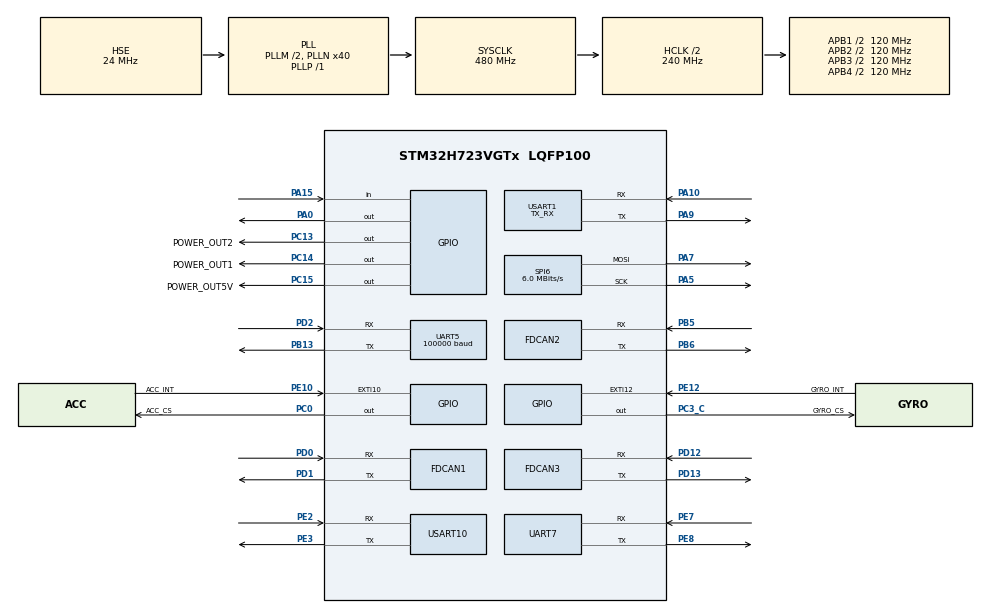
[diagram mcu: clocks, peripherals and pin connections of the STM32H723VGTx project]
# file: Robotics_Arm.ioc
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CORTEX_M7.CPU_DCache=Disabled
CORTEX_M7.CPU_ICache=Disabled
CORTEX_M7.default_mode_Activation=0
Dma.Request0=UART7_RX
Dma.Request1=UART7_TX
Dma.Request2=USART10_RX
Dma.Request3=USART10_TX
Dma.Request4=USART1_TX
Dma.Request5=UART5_RX
Dma.Request6=USART1_RX
Dma.UART5_RX.5.Direction=DMA_PERIPH_TO_MEMORY
Dma.UART5_RX.5.EventEnable=DISABLE
Dma.UART5_RX.5.FIFOMode=DMA_FIFOMODE_DISABLE
Dma.UART5_RX.5.Instance=DMA1_Stream0
Dma.UART5_RX.5.MemDataAlignment=DMA_MDATAALIGN_BYTE
Dma.UART5_RX.5.MemInc=DMA_MINC_ENABLE
Dma.UART5_RX.5.Mode=DMA_NORMAL
Dma.UART5_RX.5.PeriphDataAlignment=DMA_PDATAALIGN_BYTE
Dma.UART5_RX.5.PeriphInc=DMA_PINC_DISABLE
Dma.UART5_RX.5.Polarity=HAL_DMAMUX_REQ_GEN_RISING
Dma.UART5_RX.5.Priority=DMA_PRIORITY_VERY_HIGH
Dma.UART5_RX.5.RequestNumber=1
Dma.UART5_RX.5.SignalID=NONE
Dma.UART5_RX.5.SyncEnable=DISABLE
Dma.UART5_RX.5.SyncPolarity=HAL_DMAMUX_SYNC_NO_EVENT
Dma.UART5_RX.5.SyncRequestNumber=1
Dma.UART5_RX.5.SyncSignalID=NONE
Dma.UART7_RX.0.Direction=DMA_PERIPH_TO_MEMORY
Dma.UART7_RX.0.EventEnable=DISABLE
Dma.UART7_RX.0.FIFOMode=DMA_FIFOMODE_DISABLE
Dma.UART7_RX.0.Instance=DMA1_Stream2
Dma.UART7_RX.0.MemDataAlignment=DMA_MDATAALIGN_BYTE
Dma.UART7_RX.0.MemInc=DMA_MINC_ENABLE
Dma.UART7_RX.0.Mode=DMA_NORMAL
Dma.UART7_RX.0.PeriphDataAlignment=DMA_PDATAALIGN_BYTE
Dma.UART7_RX.0.PeriphInc=DMA_PINC_DISABLE
Dma.UART7_RX.0.Polarity=HAL_DMAMUX_REQ_GEN_RISING
Dma.UART7_RX.0.Priority=DMA_PRIORITY_LOW
Dma.UART7_RX.0.RequestNumber=1
Dma.UART7_RX.0.SignalID=NONE
Dma.UART7_RX.0.SyncEnable=DISABLE
Dma.UART7_RX.0.SyncPolarity=HAL_DMAMUX_SYNC_NO_EVENT
Dma.UART7_RX.0.SyncRequestNumber=1
Dma.UART7_RX.0.SyncSignalID=NONE
Dma.UART7_TX.1.Direction=DMA_MEMORY_TO_PERIPH
Dma.UART7_TX.1.EventEnable=DISABLE
Dma.UART7_TX.1.FIFOMode=DMA_FIFOMODE_DISABLE
Dma.UART7_TX.1.Instance=DMA1_Stream3
Dma.UART7_TX.1.MemDataAlignment=DMA_MDATAALIGN_BYTE
Dma.UART7_TX.1.MemInc=DMA_MINC_ENABLE
Dma.UART7_TX.1.Mode=DMA_NORMAL
Dma.UART7_TX.1.PeriphDataAlignment=DMA_PDATAALIGN_BYTE
Dma.UART7_TX.1.PeriphInc=DMA_PINC_DISABLE
Dma.UART7_TX.1.Polarity=HAL_DMAMUX_REQ_GEN_RISING
Dma.UART7_TX.1.Priority=DMA_PRIORITY_LOW
Dma.UART7_TX.1.RequestNumber=1
Dma.UART7_TX.1.SignalID=NONE
Dma.UART7_TX.1.SyncEnable=DISABLE
Dma.UART7_TX.1.SyncPolarity=HAL_DMAMUX_SYNC_NO_EVENT
Dma.UART7_TX.1.SyncRequestNumber=1
Dma.UART7_TX.1.SyncSignalID=NONE
Dma.USART10_RX.2.Direction=DMA_PERIPH_TO_MEMORY
Dma.USART10_RX.2.EventEnable=DISABLE
Dma.USART10_RX.2.FIFOMode=DMA_FIFOMODE_DISABLE
Dma.USART10_RX.2.Instance=DMA1_Stream4
Dma.USART10_RX.2.MemDataAlignment=DMA_MDATAALIGN_BYTE
Dma.USART10_RX.2.MemInc=DMA_MINC_ENABLE
Dma.USART10_RX.2.Mode=DMA_NORMAL
Dma.USART10_RX.2.PeriphDataAlignment=DMA_PDATAALIGN_BYTE
Dma.USART10_RX.2.PeriphInc=DMA_PINC_DISABLE
Dma.USART10_RX.2.Polarity=HAL_DMAMUX_REQ_GEN_RISING
Dma.USART10_RX.2.Priority=DMA_PRIORITY_LOW
Dma.USART10_RX.2.RequestNumber=1
Dma.USART10_RX.2.SignalID=NONE
Dma.USART10_RX.2.SyncEnable=DISABLE
Dma.USART10_RX.2.SyncPolarity=HAL_DMAMUX_SYNC_NO_EVENT
Dma.USART10_RX.2.SyncRequestNumber=1
Dma.USART10_RX.2.SyncSignalID=NONE
Dma.USART10_TX.3.Direction=DMA_MEMORY_TO_PERIPH
Dma.USART10_TX.3.EventEnable=DISABLE
Dma.USART10_TX.3.FIFOMode=DMA_FIFOMODE_DISABLE
Dma.USART10_TX.3.Instance=DMA1_Stream5
Dma.USART10_TX.3.MemDataAlignment=DMA_MDATAALIGN_BYTE
Dma.USART10_TX.3.MemInc=DMA_MINC_ENABLE
Dma.USART10_TX.3.Mode=DMA_NORMAL
Dma.USART10_TX.3.PeriphDataAlignment=DMA_PDATAALIGN_BYTE
Dma.USART10_TX.3.PeriphInc=DMA_PINC_DISABLE
Dma.USART10_TX.3.Polarity=HAL_DMAMUX_REQ_GEN_RISING
Dma.USART10_TX.3.Priority=DMA_PRIORITY_LOW
Dma.USART10_TX.3.RequestNumber=1
Dma.USART10_TX.3.SignalID=NONE
Dma.USART10_TX.3.SyncEnable=DISABLE
Dma.USART10_TX.3.SyncPolarity=HAL_DMAMUX_SYNC_NO_EVENT
Dma.USART10_TX.3.SyncRequestNumber=1
Dma.USART10_TX.3.SyncSignalID=NONE
Dma.USART1_RX.6.Direction=DMA_PERIPH_TO_MEMORY
Dma.USART1_RX.6.EventEnable=DISABLE
Dma.USART1_RX.6.FIFOMode=DMA_FIFOMODE_DISABLE
Dma.USART1_RX.6.Instance=DMA1_Stream1
Dma.USART1_RX.6.MemDataAlignment=DMA_MDATAALIGN_BYTE
Dma.USART1_RX.6.MemInc=DMA_MINC_ENABLE
Dma.USART1_RX.6.Mode=DMA_NORMAL
Dma.USART1_RX.6.PeriphDataAlignment=DMA_PDATAALIGN_BYTE
Dma.USART1_RX.6.PeriphInc=DMA_PINC_DISABLE
Dma.USART1_RX.6.Polarity=HAL_DMAMUX_REQ_GEN_RISING
Dma.USART1_RX.6.Priority=DMA_PRIORITY_LOW
Dma.USART1_RX.6.RequestNumber=1
Dma.USART1_RX.6.SignalID=NONE
Dma.USART1_RX.6.SyncEnable=DISABLE
Dma.USART1_RX.6.SyncPolarity=HAL_DMAMUX_SYNC_NO_EVENT
Dma.USART1_RX.6.SyncRequestNumber=1
Dma.USART1_RX.6.SyncSignalID=NONE
Dma.USART1_TX.4.Direction=DMA_MEMORY_TO_PERIPH
Dma.USART1_TX.4.EventEnable=DISABLE
Dma.USART1_TX.4.FIFOMode=DMA_FIFOMODE_DISABLE
Dma.USART1_TX.4.Instance=DMA1_Stream6
Dma.USART1_TX.4.MemDataAlignment=DMA_MDATAALIGN_BYTE
Dma.USART1_TX.4.MemInc=DMA_MINC_ENABLE
Dma.USART1_TX.4.Mode=DMA_NORMAL
Dma.USART1_TX.4.PeriphDataAlignment=DMA_PDATAALIGN_BYTE
Dma.USART1_TX.4.PeriphInc=DMA_PINC_DISABLE
Dma.USART1_TX.4.Polarity=HAL_DMAMUX_REQ_GEN_RISING
Dma.USART1_TX.4.Priority=DMA_PRIORITY_HIGH
Dma.USART1_TX.4.RequestNumber=1
Dma.USART1_TX.4.SignalID=NONE
Dma.USART1_TX.4.SyncEnable=DISABLE
Dma.USART1_TX.4.SyncPolarity=HAL_DMAMUX_SYNC_NO_EVENT
Dma.USART1_TX.4.SyncRequestNumber=1
Dma.USART1_TX.4.SyncSignalID=NONE
FDCAN1.CalculateBaudRateNominal=1000000
FDCAN1.CalculateTimeBitNominal=1000
FDCAN1.CalculateTimeQuantumNominal=200.0
FDCAN1.NominalPrescaler=24
FDCAN1.NominalTimeSeg1=2
FDCAN1.NominalTimeSeg2=2
FDCAN1.RxFifo0ElmtsNbr=32
FDCAN1.StdFiltersNbr=1
FDCAN1.TxFifoQueueElmtsNbr=32
FDCAN2.CalculateBaudRateNominal=1000000
FDCAN2.CalculateTimeBitNominal=1000
FDCAN2.CalculateTimeQuantumNominal=200.0
FDCAN2.MessageRAMOffset=0x406
FDCAN2.NominalPrescaler=24
FDCAN2.RxFifo0ElmtsNbr=32
FDCAN2.StdFiltersNbr=1
FDCAN2.TxFifoQueueElmtsNbr=32
FDCAN3.CalculateBaudRateNominal=1000000
FDCAN3.CalculateTimeBitNominal=1000
FDCAN3.CalculateTimeQuantumNominal=200.0
FDCAN3.MessageRAMOffset=0x812
FDCAN3.NominalPrescaler=24
FDCAN3.RxFifo0ElmtsNbr=32
FDCAN3.StdFiltersNbr=1
FDCAN3.TxFifoQueueElmtsNbr=32
FREERTOS.INCLUDE_eTaskGetState=1
FREERTOS.INCLUDE_uxTaskGetStackHighWaterMark=1
FREERTOS.INCLUDE_vTaskDelayUntil=1
FREERTOS.INCLUDE_xQueueGetMutexHolder=1
FREERTOS.INCLUDE_xTaskGetCurrentTaskHandle=1
FREERTOS.INCLUDE_xTimerPendFunctionCall=1
FREERTOS.MEMORY_ALLOCATION=2
FREERTOS.Tasks01=StartDebugTask,-2,128,StartDebug,Default,NULL,Static,defaultTaskBuffer,defaultTaskControlBlock;MotorOutputTask,2,512,MotorOutput,Default,NULL,Static,myTask04Buffer,myTask04ControlBlock;ArmTask,3,256,Arm,Default,NULL,Static,myTask05Buffer,myTask05ControlBlock;RCTask,-1,1024,RC,Default,NULL,Static,myTask06Buffer,myTask06ControlBlock
FREERTOS.configENABLE_FPU=1
FREERTOS.configTOTAL_HEAP_SIZE=20000
FREERTOS.configUSE_COUNTING_SEMAPHORES=1
FREERTOS.configUSE_RECURSIVE_MUTEXES=1
FREERTOS.configUSE_TIMERS=1
FREERTOS.configUSE_TRACE_FACILITY=1
Mcu.Family=STM32H7
Mcu.Name=STM32H723VGTx
Mcu.Package=LQFP100
NVIC.DMA1_Stream0_IRQn=true\:5\:0\:false\:false\:true\:true\:false\:true\:true
NVIC.DMA1_Stream1_IRQn=true\:5\:0\:false\:false\:true\:true\:false\:true\:true
NVIC.DMA1_Stream2_IRQn=true\:5\:0\:false\:false\:true\:true\:false\:true\:true
NVIC.DMA1_Stream3_IRQn=true\:5\:0\:false\:false\:true\:true\:false\:true\:true
NVIC.DMA1_Stream4_IRQn=true\:5\:0\:false\:false\:true\:true\:false\:true\:true
NVIC.DMA1_Stream5_IRQn=true\:5\:0\:false\:false\:true\:true\:false\:true\:true
NVIC.DMA1_Stream6_IRQn=true\:5\:0\:false\:false\:true\:true\:false\:true\:true
NVIC.EXTI15_10_IRQn=true\:6\:0\:true\:false\:true\:true\:true\:true\:true
NVIC.FDCAN1_IT0_IRQn=true\:5\:0\:false\:false\:true\:true\:true\:true\:true
NVIC.FDCAN1_IT1_IRQn=true\:5\:0\:false\:false\:true\:true\:true\:true\:true
NVIC.FDCAN2_IT0_IRQn=true\:5\:0\:false\:false\:true\:true\:true\:true\:true
NVIC.FDCAN2_IT1_IRQn=true\:5\:0\:false\:false\:true\:true\:true\:true\:true
NVIC.FDCAN3_IT0_IRQn=true\:5\:0\:false\:false\:true\:true\:true\:true\:true
NVIC.FDCAN3_IT1_IRQn=true\:5\:0\:false\:false\:true\:true\:true\:true\:true
NVIC.PriorityGroup=NVIC_PRIORITYGROUP_4
NVIC.TIM1_UP_IRQn=true\:15\:0\:false\:false\:true\:false\:false\:true\:true
NVIC.TIM2_IRQn=true\:5\:0\:false\:false\:true\:true\:true\:true\:true
NVIC.TimeBase=TIM1_UP_IRQn
NVIC.TimeBaseIP=TIM1
NVIC.UART5_IRQn=true\:5\:0\:false\:false\:true\:true\:true\:true\:true
NVIC.UART7_IRQn=true\:5\:0\:false\:false\:true\:true\:true\:true\:true
NVIC.USART10_IRQn=true\:5\:0\:false\:false\:true\:true\:true\:true\:true
NVIC.USART1_IRQn=true\:5\:0\:false\:false\:true\:true\:true\:true\:true
PA0.GPIO_Speed=GPIO_SPEED_FREQ_VERY_HIGH
PA0.Signal=GPIO_Output
PA10.GPIO_Speed=GPIO_SPEED_FREQ_VERY_HIGH
PA10.Mode=Asynchronous
PA10.Signal=USART1_RX
PA13(JTMS/SWDIO).Mode=Serial_Wire
PA13(JTMS/SWDIO).Signal=DEBUG_JTMS-SWDIO
PA14(JTCK/SWCLK).Mode=Serial_Wire
PA14(JTCK/SWCLK).Signal=DEBUG_JTCK-SWCLK
PA15(JTDI).Signal=GPIO_Input
PA5.Mode=TX_Only_Simplex_Unidirect_Master
PA5.Signal=SPI6_SCK
PA7.Mode=TX_Only_Simplex_Unidirect_Master
PA7.Signal=SPI6_MOSI
PA9.GPIO_Speed=GPIO_SPEED_FREQ_VERY_HIGH
PA9.Mode=Asynchronous
PA9.Signal=USART1_TX
PB13.GPIO_Speed=GPIO_SPEED_FREQ_LOW
PB13.Mode=Asynchronous
PB13.Signal=UART5_TX
PB5.Mode=FDCAN_Activate
PB5.Signal=FDCAN2_RX
PB6.Mode=FDCAN_Activate
PB6.Signal=FDCAN2_TX
PC0.GPIO_Label=ACC_CS
PC0.GPIO_Speed=GPIO_SPEED_FREQ_VERY_HIGH
PC0.PinState=GPIO_PIN_SET
PC0.Signal=GPIO_Output
PC13.GPIO_Label=POWER_OUT2
PC13.PinState=GPIO_PIN_RESET
PC13.Signal=GPIO_Output
PC14-OSC32_IN.GPIO_Label=POWER_OUT1
PC14-OSC32_IN.Signal=GPIO_Output
PC15-OSC32_OUT.GPIO_Label=POWER_OUT5V
PC15-OSC32_OUT.PinState=GPIO_PIN_SET
PC15-OSC32_OUT.Signal=GPIO_Output
PC3_C.GPIO_Label=GYRO_CS
PC3_C.GPIO_Speed=GPIO_SPEED_FREQ_VERY_HIGH
PC3_C.PinState=GPIO_PIN_SET
PC3_C.Signal=GPIO_Output
PD0.Mode=FDCAN_Activate
PD0.Signal=FDCAN1_RX
PD1.Mode=FDCAN_Activate
PD1.Signal=FDCAN1_TX
PD12.Mode=FDCAN_Activate
PD12.Signal=FDCAN3_RX
PD13.Mode=FDCAN_Activate
PD13.Signal=FDCAN3_TX
PD2.GPIO_Speed=GPIO_SPEED_FREQ_LOW
PD2.Mode=Asynchronous
PD2.Signal=UART5_RX
PE10.GPIO_Label=ACC_INT
PE10.Signal=GPXTI10
PE12.GPIO_Label=GYRO_INT
PE12.Signal=GPXTI12
PE2.GPIO_Speed=GPIO_SPEED_FREQ_VERY_HIGH
PE2.Mode=Asynchronous
PE2.Signal=USART10_RX
PE3.GPIO_Speed=GPIO_SPEED_FREQ_VERY_HIGH
PE3.Mode=Asynchronous
PE3.Signal=USART10_TX
PE7.GPIO_Speed=GPIO_SPEED_FREQ_VERY_HIGH
PE7.Mode=Asynchronous
PE7.Signal=UART7_RX
PE8.GPIO_Speed=GPIO_SPEED_FREQ_VERY_HIGH
PE8.Mode=Asynchronous
PE8.Signal=UART7_TX
PH0-OSC_IN.Mode=HSE-External-Oscillator
PH0-OSC_IN.Signal=RCC_OSC_IN
PH1-OSC_OUT.Mode=HSE-External-Oscillator
PH1-OSC_OUT.Signal=RCC_OSC_OUT
ProjectManager.HeapSize=0x200
ProjectManager.StackSize=0x400
ProjectManager.TargetToolchain=STM32CubeIDE
RCC.ADCFreq_Value=96000000
RCC.APB1Freq_Value=120000000
RCC.APB2Freq_Value=120000000
RCC.APB3Freq_Value=120000000
RCC.APB4Freq_Value=120000000
RCC.CortexFreq_Value=480000000
RCC.D1PPRE=RCC_APB3_DIV2
RCC.D2PPRE1=RCC_APB1_DIV2
RCC.D2PPRE2=RCC_APB2_DIV2
RCC.D3PPRE=RCC_APB4_DIV2
RCC.DIVM1=2
RCC.DIVM2=2
RCC.DIVN1=40
RCC.DIVN2=16
RCC.DIVP1=1
RCC.DIVQ1=4
RCC.HCLKFreq_Value=240000000
RCC.HPRE=RCC_HCLK_DIV2
RCC.HSE_VALUE=24000000
RCC.PLL1_VCO_SEL-AdvancedSettings=RCC_PLL1VCOMEDIUM
RCC.PLL2FRACN=0
RCC.PLL2_VCO_SEL-AdvancedSettings=RCC_PLL2VCOWIDE
RCC.PLL3_VCI_Range-AdvancedSettings=RCC_PLL3VCIRANGE_3
RCC.PLL3_VCO_SEL-AdvancedSettings=RCC_PLL3VCOMEDIUM
RCC.PLLFRACN=0
RCC.PLLSourceVirtual=RCC_PLLSOURCE_HSE
RCC.SPI6CLockSelection=RCC_SPI6CLKSOURCE_HSE
RCC.SYSCLKFreq_VALUE=480000000
RCC.SYSCLKSource=RCC_SYSCLKSOURCE_PLLCLK
RCC.USBCLockSelection=RCC_USBCLKSOURCE_HSI48
RCC.USBFreq_Value=48000000
SPI6.BaudRatePrescaler=SPI_BAUDRATEPRESCALER_4
SPI6.CLKPhase=SPI_PHASE_2EDGE
SPI6.CalculateBaudRate=6.0 MBits/s
SPI6.DataSize=SPI_DATASIZE_8BIT
SPI6.Direction=SPI_DIRECTION_2LINES_TXONLY
SPI6.Mode=SPI_MODE_MASTER
SPI6.VirtualType=VM_MASTER
STMicroelectronics.X-CUBE-ALGOBUILD.1.3.0.LibraryCcDSPOoLibraryJjDSPOoLibrary=true
TIM2.AutoReloadPreload=TIM_AUTORELOAD_PRELOAD_ENABLE
TIM2.Period=1000-1
TIM2.Prescaler=480-1
UART5.BaudRate=100000
UART5.Parity=PARITY_EVEN
UART5.StopBits=UART_STOPBITS_2
UART5.WordLength=WORDLENGTH_9B
USART1.FIFOMode=FIFOMODE_DISABLE
USART1.Mode=MODE_TX_RX
USART1.VirtualMode-Asynchronous=VM_ASYNC
USART10.VirtualMode=VM_ASYNC
VP_FREERTOS_VS_CMSIS_V1.Mode=CMSIS_V1
VP_STMicroelectronics.X-CUBE-ALGOBUILD_VS_DSPOoLibraryJjLibrary_1.3.0_1.3.0.Mode=DSPOoLibraryJjLibrary
VP_SYS_VS_tim1.Mode=TIM1
VP_TIM2_VS_ClockSourceINT.Mode=Internal
board=custom

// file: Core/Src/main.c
/* USER CODE BEGIN Header */
/**
  ******************************************************************************
  * @file           : main.c
  * @brief          : Main program body
  ******************************************************************************
  * @attention
  *
  * Copyright (c) 2024 STMicroelectronics.
  * All rights reserved.
  *
  * This software is licensed under terms that can be found in the LICENSE file
  * in the root directory of this software component.
  * If no LICENSE file comes with this software, it is provided AS-IS.
  *
  ******************************************************************************
  */
/* USER CODE END Header */
#include "main.h"
#include "cmsis_os.h"
#include "dma.h"
#include "fdcan.h"
#include "spi.h"
#include "tim.h"
#include "usart.h"
#include "gpio.h"

/* USER CODE BEGIN PM */
extern float vel_set;
/* USER CODE END PM */

void SystemClock_Config(void);
void MX_FREERTOS_Init(void);

int main(void)
{

  /* MCU Configuration--------------------------------------------------------*/

  /* Reset of all peripherals, Initializes the Flash interface and the Systick. */
  HAL_Init();

  /* Configure the system clock */
  SystemClock_Config();

  /* Initialize all configured peripherals */
  MX_GPIO_Init();
  MX_DMA_Init();
  MX_USART1_UART_Init();
  MX_UART7_Init();
  MX_USART10_UART_Init();
  MX_FDCAN1_Init();
  MX_FDCAN2_Init();
  MX_FDCAN3_Init();
  MX_UART5_Init();
  MX_SPI6_Init();
  MX_TIM2_Init();

  /* Call init function for freertos objects (in freertos.c) */
  MX_FREERTOS_Init();

  /* Start scheduler */
  osKernelStart();

  /* We should never get here as control is now taken by the scheduler */
  /* Infinite loop */
  while (1)
  {

  }
}

void SystemClock_Config(void)
{
  RCC_OscInitTypeDef RCC_OscInitStruct = {0};
  RCC_ClkInitTypeDef RCC_ClkInitStruct = {0};

  /** Supply configuration update enable
  */
  HAL_PWREx_ConfigSupply(PWR_LDO_SUPPLY);

  /** Configure the main internal regulator output voltage
  */
  __HAL_PWR_VOLTAGESCALING_CONFIG(PWR_REGULATOR_VOLTAGE_SCALE0);

  while(!__HAL_PWR_GET_FLAG(PWR_FLAG_VOSRDY)) {}

  /** Initializes the RCC Oscillators according to the specified parameters
  * in the RCC_OscInitTypeDef structure.
  */
  RCC_OscInitStruct.OscillatorType = RCC_OSCILLATORTYPE_HSE;
  RCC_OscInitStruct.HSEState = RCC_HSE_ON;
  RCC_OscInitStruct.PLL.PLLState = RCC_PLL_ON;
  RCC_OscInitStruct.PLL.PLLSource = RCC_PLLSOURCE_HSE;
  RCC_OscInitStruct.PLL.PLLM = 2;
  RCC_OscInitStruct.PLL.PLLN = 40;
  RCC_OscInitStruct.PLL.PLLP = 1;
  RCC_OscInitStruct.PLL.PLLQ = 4;
  RCC_OscInitStruct.PLL.PLLR = 2;
  RCC_OscInitStruct.PLL.PLLRGE = RCC_PLL1VCIRANGE_3;
  RCC_OscInitStruct.PLL.PLLVCOSEL = RCC_PLL1VCOWIDE;
  RCC_OscInitStruct.PLL.PLLFRACN = 0;
  if (HAL_RCC_OscConfig(&RCC_OscInitStruct) != HAL_OK)
  {
    Error_Handler();
  }

  /** Initializes the CPU, AHB and APB buses clocks
  */
  RCC_ClkInitStruct.ClockType = RCC_CLOCKTYPE_HCLK|RCC_CLOCKTYPE_SYSCLK
                              |RCC_CLOCKTYPE_PCLK1|RCC_CLOCKTYPE_PCLK2
                              |RCC_CLOCKTYPE_D3PCLK1|RCC_CLOCKTYPE_D1PCLK1;
  RCC_ClkInitStruct.SYSCLKSource = RCC_SYSCLKSOURCE_PLLCLK;
  RCC_ClkInitStruct.SYSCLKDivider = RCC_SYSCLK_DIV1;
  RCC_ClkInitStruct.AHBCLKDivider = RCC_HCLK_DIV2;
  RCC_ClkInitStruct.APB3CLKDivider = RCC_APB3_DIV2;
  RCC_ClkInitStruct.APB1CLKDivider = RCC_APB1_DIV2;
  RCC_ClkInitStruct.APB2CLKDivider = RCC_APB2_DIV2;
  RCC_ClkInitStruct.APB4CLKDivider = RCC_APB4_DIV2;

  if (HAL_RCC_ClockConfig(&RCC_ClkInitStruct, FLASH_LATENCY_3) != HAL_OK)
  {
    Error_Handler();
  }
}

void HAL_TIM_PeriodElapsedCallback(TIM_HandleTypeDef *htim)
{
  if (htim->Instance == TIM1) {
    HAL_IncTick();
  }
}

void Error_Handler(void)
{
  __disable_irq();
  while (1)
  {
  }
}

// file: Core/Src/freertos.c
/* USER CODE BEGIN Header */
/**
  ******************************************************************************
  * File Name          : freertos.c
  * Description        : Code for freertos applications
  ******************************************************************************
  * @attention
  *
  * Copyright (c) 2024 STMicroelectronics.
  * All rights reserved.
  *
  * This software is licensed under terms that can be found in the LICENSE file
  * in the root directory of this software component.
  * If no LICENSE file comes with this software, it is provided AS-IS.
  *
  ******************************************************************************
  */
/* USER CODE END Header */

#include "FreeRTOS.h"
#include "task.h"
#include "main.h"
#include "cmsis_os.h"

/* USER CODE BEGIN Includes */
#include "Arm_Task.h"
#include "Debug_Task.h"
#include "Motor_Task.h"
#include "RemoteControl_Task.h"
/* USER CODE END Includes */

osThreadId StartDebugTaskHandle;
uint32_t defaultTaskBuffer[ 128 ];
osStaticThreadDef_t defaultTaskControlBlock;
osThreadId MotorOutputTaskHandle;
uint32_t myTask04Buffer[ 512 ];
osStaticThreadDef_t myTask04ControlBlock;
osThreadId ArmTaskHandle;
uint32_t myTask05Buffer[ 256 ];
osStaticThreadDef_t myTask05ControlBlock;
osThreadId RCTaskHandle;
uint32_t myTask06Buffer[ 1024 ];
osStaticThreadDef_t myTask06ControlBlock;

void StartDebug(void const * argument);
void MotorOutput(void const * argument);
void Arm(void const * argument);
void RC(void const * argument);

void MX_FREERTOS_Init(void); /* (MISRA C 2004 rule 8.1) */

/* GetIdleTaskMemory prototype (linked to static allocation support) */
void vApplicationGetIdleTaskMemory( StaticTask_t **ppxIdleTaskTCBBuffer, StackType_t **ppxIdleTaskStackBuffer, uint32_t *pulIdleTaskStackSize );

/* GetTimerTaskMemory prototype (linked to static allocation support) */
void vApplicationGetTimerTaskMemory( StaticTask_t **ppxTimerTaskTCBBuffer, StackType_t **ppxTimerTaskStackBuffer, uint32_t *pulTimerTaskStackSize );

/* USER CODE BEGIN GET_IDLE_TASK_MEMORY */
static StaticTask_t xIdleTaskTCBBuffer;
static StackType_t xIdleStack[configMINIMAL_STACK_SIZE];

void vApplicationGetIdleTaskMemory( StaticTask_t **ppxIdleTaskTCBBuffer, StackType_t **ppxIdleTaskStackBuffer, uint32_t *pulIdleTaskStackSize )
{
  *ppxIdleTaskTCBBuffer = &xIdleTaskTCBBuffer;
  *ppxIdleTaskStackBuffer = &xIdleStack[0];
  *pulIdleTaskStackSize = configMINIMAL_STACK_SIZE;
  /* place for user code */
}
/* USER CODE END GET_IDLE_TASK_MEMORY */

/* USER CODE BEGIN GET_TIMER_TASK_MEMORY */
static StaticTask_t xTimerTaskTCBBuffer;
static StackType_t xTimerStack[configTIMER_TASK_STACK_DEPTH];

void vApplicationGetTimerTaskMemory( StaticTask_t **ppxTimerTaskTCBBuffer, StackType_t **ppxTimerTaskStackBuffer, uint32_t *pulTimerTaskStackSize )
{
  *ppxTimerTaskTCBBuffer = &xTimerTaskTCBBuffer;
  *ppxTimerTaskStackBuffer = &xTimerStack[0];
  *pulTimerTaskStackSize = configTIMER_TASK_STACK_DEPTH;
  /* place for user code */
}
/* USER CODE END GET_TIMER_TASK_MEMORY */

void MX_FREERTOS_Init(void) {

  /* Create the thread(s) */
  /* definition and creation of StartDebugTask */
  osThreadStaticDef(StartDebugTask, StartDebug, osPriorityLow, 0, 128, defaultTaskBuffer, &defaultTaskControlBlock);
  StartDebugTaskHandle = osThreadCreate(osThread(StartDebugTask), NULL);

  /* definition and creation of MotorOutputTask */
  osThreadStaticDef(MotorOutputTask, MotorOutput, osPriorityHigh, 0, 512, myTask04Buffer, &myTask04ControlBlock);
  MotorOutputTaskHandle = osThreadCreate(osThread(MotorOutputTask), NULL);

  /* definition and creation of ArmTask */
  osThreadStaticDef(ArmTask, Arm, osPriorityRealtime, 0, 256, myTask05Buffer, &myTask05ControlBlock);
  ArmTaskHandle = osThreadCreate(osThread(ArmTask), NULL);

  /* definition and creation of RCTask */
  osThreadStaticDef(RCTask, RC, osPriorityBelowNormal, 0, 1024, myTask06Buffer, &myTask06ControlBlock);
  RCTaskHandle = osThreadCreate(osThread(RCTask), NULL);

  /* USER CODE BEGIN RTOS_THREADS */
  /* add threads, ... */

    vTaskSuspend(MotorOutputTaskHandle);
    vTaskSuspend(ArmTaskHandle);
    vTaskSuspend(RCTaskHandle);
  /* USER CODE END RTOS_THREADS */

}

void StartDebug(void const * argument)
{
  /* USER CODE BEGIN StartDebug */
    Myinit();

    vTaskResume(RCTaskHandle);
    vTaskResume(ArmTaskHandle);
    vTaskResume(MotorOutputTaskHandle);
  /* Infinite loop */
  for(;;)
  {
      Debug_Task();
  }
  /* USER CODE END StartDebug */
}

void MotorOutput(void const * argument)
{
  /* USER CODE BEGIN MotorOutput */
  /* Infinite loop */
  for(;;)
  {
      Motor_Task();
  }
  /* USER CODE END MotorOutput */
}

void Arm(void const * argument)
{
  /* USER CODE BEGIN Arm */
  /* Infinite loop */
  for(;;)
  {
      Arm_Task();
  }
  /* USER CODE END Arm */
}

void RC(void const * argument)
{
  /* USER CODE BEGIN RC */
  /* Infinite loop */
  for(;;)
  {
      RC_Task();
  }
  /* USER CODE END RC */
}
